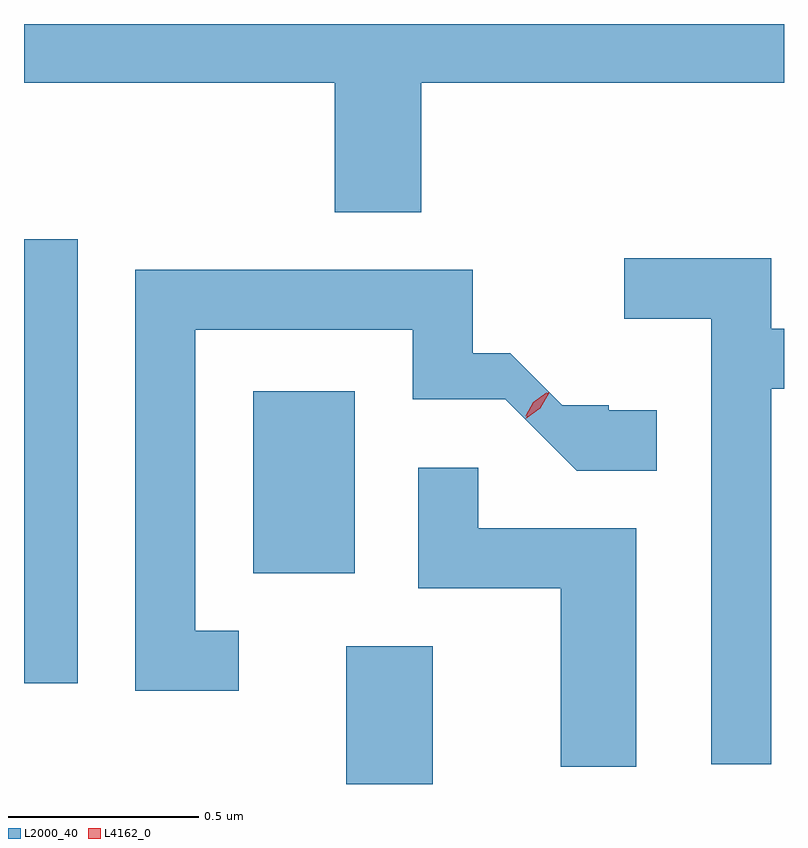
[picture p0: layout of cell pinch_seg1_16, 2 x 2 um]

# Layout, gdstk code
import gdstk
lib = gdstk.Library(unit=1e-6, precision=1e-09)
def R(c, l, rs):  # rectangles x0, y0, x1, y1
    for r in rs: c.add(gdstk.rectangle(r[:2], r[2:], *l))
def P(c, l, *ps):  # polygons
    for p in ps: c.add(gdstk.Polygon(p, *l))
L2000_40 = (2000, 40)
L4162_0 = (4162, 0)

pinch_seg1_16 = lib.new_cell('pinch_seg1_16')
R(pinch_seg1_16, L2000_40, [(1867.891,846.671,1868.119,847.034), (1867.043,846.936,1867.184,848.104), (1867.646,847.226,1867.914,847.704)])
P(pinch_seg1_16, L2000_40, [(1868.089,848.516),(1869.043,848.516),(1869.043,848.671),(1867.043,848.671),(1867.043,848.516),(1867.861,848.516),(1867.861,848.176),(1868.089,848.176)],
  [(1869.009,847.711),(1869.043,847.711),(1869.043,847.869),(1869.009,847.869),(1869.009,848.054),(1868.623,848.054),(1868.623,847.896),(1868.851,847.896),(1868.851,846.723),(1869.009,846.723)],
  [(1867.608,847.074),(1867.494,847.074),(1867.494,847.866),(1868.066,847.866),(1868.066,847.684),(1868.31,847.684),(1868.497,847.496),(1868.708,847.496),(1868.708,847.654),(1868.582,847.654),(1868.582,847.668),(1868.459,847.668),(1868.322,847.804),(1868.224,847.804),(1868.224,848.024),(1867.336,848.024),(1867.336,846.916),(1867.608,846.916)],
  [(1868.654,847.344),(1868.239,847.344),(1868.239,847.503),(1868.081,847.503),(1868.081,847.186),(1868.456,847.186),(1868.456,846.716),(1868.654,846.716)])
P(pinch_seg1_16, L4162_0, [(1868.363,847.639),(1868.363,847.64),(1868.383,847.676),(1868.417,847.7),(1868.418,847.7),(1868.418,847.7),(1868.398,847.663),(1868.364,847.639)],
  [(1868.363,847.632),(1868.363,847.632),(1868.386,847.673),(1868.424,847.702),(1868.425,847.702),(1868.425,847.701),(1868.401,847.66),(1868.364,847.632)])

lib.write_gds('pinch_seg1_16.gds')
